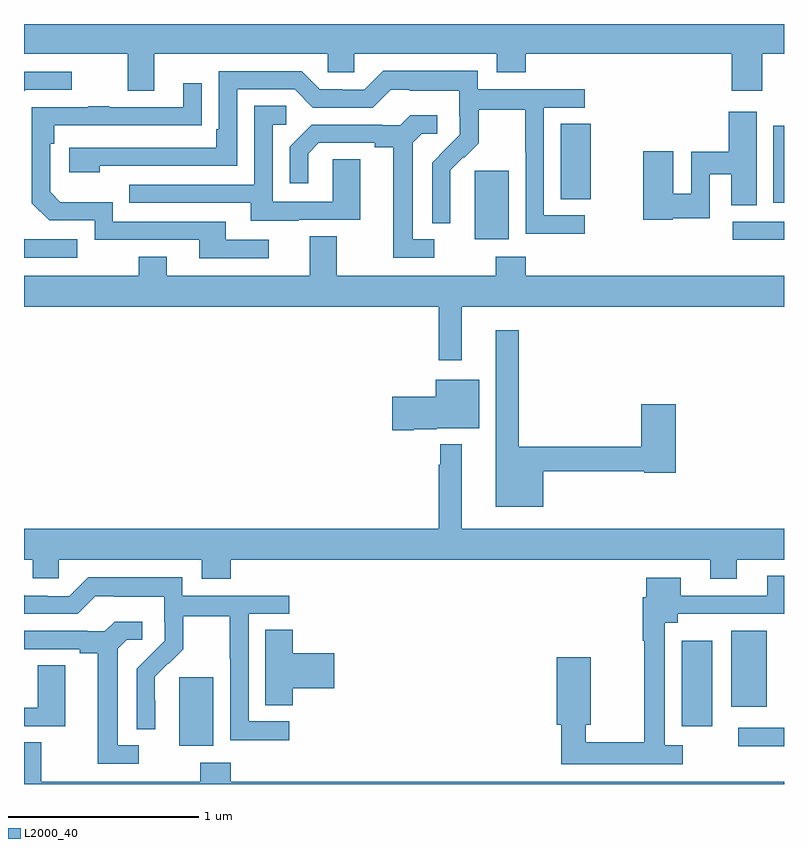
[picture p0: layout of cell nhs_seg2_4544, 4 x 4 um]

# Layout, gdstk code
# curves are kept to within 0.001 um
import gdstk
lib = gdstk.Library(unit=1e-6, precision=1e-09)
def R(c, l, rs):  # rectangles x0, y0, x1, y1
    for r in rs: c.add(gdstk.rectangle(r[:2], r[2:], *l))
def P(c, l, *ps):  # polygons
    for p in ps: c.add(gdstk.Polygon(p, *l))
L2000_40 = (2000, 40)

nhs_seg2_4544 = lib.new_cell('nhs_seg2_4544')
R(nhs_seg2_4544, L2000_40, [(360.759,636,361,636.096), (357.818,636.002,357.997,636.363), (360.461,636.105,360.622,636.553), (360.722,636.206,360.91,636.607), (360.729,638.664,361,638.76), (359.372,638.666,359.551,639.027), (360.944,638.858,361,639.265), (359.825,638.878,359.983,639.275)])
P(nhs_seg2_4544, L2000_40, [(357.685,639.644),(358.599,639.644),(358.599,639.546),(358.737,639.546),(358.737,639.644),(359.489,639.644),(359.489,639.545),(359.642,639.545),(359.642,639.644),(360.725,639.644),(360.725,639.45),(360.885,639.45),(360.885,639.644),(361,639.644),(361,639.8),(357,639.8),(357,639.644),(357.545,639.644),(357.545,639.45),(357.685,639.45)],
  [(359.95,638.793),(359.736,638.793),(359.736,639.36),(359.95,639.36),(359.95,639.456),(359.388,639.456),(359.388,639.553),(358.891,639.553),(358.791,639.453),(358.676,639.453),(358.676,639.456),(358.557,639.456),(358.461,639.552),(358.026,639.552),(358.026,639.247),(358.013,639.247),(358.013,639.15),(357.237,639.15),(357.237,639.02),(357.398,639.02),(357.398,639.054),(358.122,639.054),(358.122,639.456),(358.425,639.456),(358.521,639.36),(358.836,639.36),(358.929,639.453),(359.029,639.453),(359.029,639.449),(359.292,639.449),(359.292,639.315),(359.294,639.315),(359.294,639.218),(359.148,639.07),(359.148,638.752),(359.244,638.752),(359.243,639.029),(359.313,639.099),(359.316,639.096),(359.393,639.173),(359.393,639.348),(359.638,639.348),(359.638,639.124),(359.64,639.124),(359.64,638.695),(359.95,638.695)],
  [(357.006,639.453),(357.25,639.453),(357.25,639.549),(357,639.549),(357,639.447)],
  [(358.288,638.664),(358.063,638.664),(358.063,638.76),(357.468,638.76),(357.468,638.863),(357.191,638.863),(357.138,638.916),(357.138,639.17),(357.158,639.17),(357.158,639.267),(357.935,639.268),(357.935,639.487),(357.839,639.487),(357.839,639.363),(357.449,639.363),(357.449,639.368),(357.337,639.368),(357.337,639.363),(357.042,639.363),(357.042,638.856),(357.132,638.766),(357.372,638.766),(357.372,638.664),(357.923,638.664),(357.923,638.568),(358.288,638.568)],
  [(358.447,638.769),(358.771,638.769),(358.771,639.089),(358.626,639.089),(358.626,638.865),(358.308,638.865),(358.308,639.27),(358.381,639.27),(358.381,639.371),(358.212,639.371),(358.212,638.955),(357.553,638.955),(357.553,638.859),(358.193,638.859),(358.193,638.765),(358.447,638.765)],
  [(360.414,638.778),(360.609,638.778),(360.609,639.01),(360.722,639.01),(360.722,638.845),(360.856,638.845),(360.856,639.337),(360.71,639.337),(360.71,639.128),(360.513,639.128),(360.513,638.906),(360.418,638.906),(360.418,639.13),(360.26,639.13),(360.26,638.77),(360.414,638.77)],
  [(359.158,638.667),(359.047,638.667),(359.047,639.175),(359.094,639.222),(359.176,639.222),(359.176,639.319),(359.032,639.319),(358.98,639.267),(358.886,639.267),(358.886,639.27),(358.514,639.27),(358.398,639.154),(358.398,638.961),(358.495,638.961),(358.495,639.117),(358.552,639.174),(358.847,639.174),(358.847,639.152),(358.943,639.152),(358.943,638.571),(359.158,638.571)],
  [(358.645,638.684),(358.505,638.684),(358.505,638.476),(357.751,638.476),(357.751,638.575),(357.604,638.575),(357.604,638.476),(357,638.476),(357,638.312),(359.184,638.312),(359.184,638.031),(359.305,638.031),(359.305,638.312),(361,638.312),(361,638.476),(359.642,638.476),(359.642,638.575),(359.482,638.575),(359.482,638.476),(358.645,638.476)],
  [(357.28,638.667),(357.003,638.667),(357,638.67),(357,638.571),(357.28,638.571)],
  [(359.734,637.446),(360.264,637.446),(360.264,637.438),(360.431,637.438),(360.431,637.798),(360.248,637.798),(360.248,637.574),(359.605,637.574),(359.605,638.188),(359.483,638.188),(359.483,637.259),(359.734,637.259)],
  [(359.05,637.667),(359.172,637.667),(359.172,637.673),(359.395,637.673),(359.395,637.927),(359.168,637.927),(359.168,637.839),(358.938,637.839),(358.938,637.661),(359.05,637.661)],
  [(358.088,636.98),(360.611,636.98),(360.611,636.881),(360.751,636.881),(360.751,636.98),(361,636.98),(361,637.144),(359.305,637.144),(359.305,637.588),(359.191,637.588),(359.191,637.481),(359.184,637.481),(359.184,637.144),(357,637.144),(357,636.98),(357.045,636.98),(357.045,636.882),(357.183,636.882),(357.183,636.98),(357.935,636.98),(357.935,636.881),(358.088,636.881)],
  [(360.466,636.004),(360.372,636.004),(360.372,636.65),(360.442,636.65),(360.442,636.696),(361,636.696),(361,636.895),(360.911,636.895),(360.911,636.792),(360.457,636.792),(360.457,636.886),(360.275,636.886),(360.275,636.782),(360.256,636.782),(360.256,636.554),(360.264,636.554),(360.264,636.02),(359.956,636.02),(359.956,636.113),(359.982,636.113),(359.982,636.466),(359.804,636.466),(359.804,636.113),(359.827,636.113),(359.827,635.904),(360.466,635.904)],
  [(358.396,636.129),(358.182,636.129),(358.182,636.696),(358.396,636.696),(358.396,636.792),(357.834,636.792),(357.834,636.889),(357.337,636.889),(357.237,636.789),(357.122,636.789),(357.122,636.792),(357.003,636.792),(357,636.795),(357,636.696),(357.282,636.696),(357.375,636.789),(357.475,636.789),(357.475,636.785),(357.738,636.785),(357.738,636.651),(357.74,636.651),(357.74,636.554),(357.594,636.406),(357.594,636.088),(357.69,636.088),(357.689,636.365),(357.759,636.435),(357.762,636.432),(357.839,636.509),(357.839,636.684),(358.084,636.684),(358.084,636.46),(358.086,636.46),(358.086,636.031),(358.396,636.031)],
  [(357.604,636.003),(357.493,636.003),(357.493,636.511),(357.54,636.558),(357.622,636.558),(357.622,636.655),(357.478,636.655),(357.426,636.603),(357.332,636.603),(357.332,636.606),(357,636.606),(357,636.51),(357.293,636.51),(357.293,636.488),(357.389,636.488),(357.389,635.907),(357.604,635.907)],
  [(358.415,636.305),(358.633,636.305),(358.633,636.488),(358.415,636.488),(358.415,636.611),(358.271,636.611),(358.271,636.214),(358.415,636.214)],
  [(357.217,636.425),(357.072,636.425),(357.072,636.201),(357,636.201),(357,636.105),(357.217,636.105)],
  [(361,635.812),(358.088,635.812),(358.088,635.911),(357.928,635.911),(357.928,635.812),(357.091,635.812),(357.091,636.02),(357,636.02),(357,635.8),(361,635.8)])

lib.write_gds('nhs_seg2_4544.gds')
